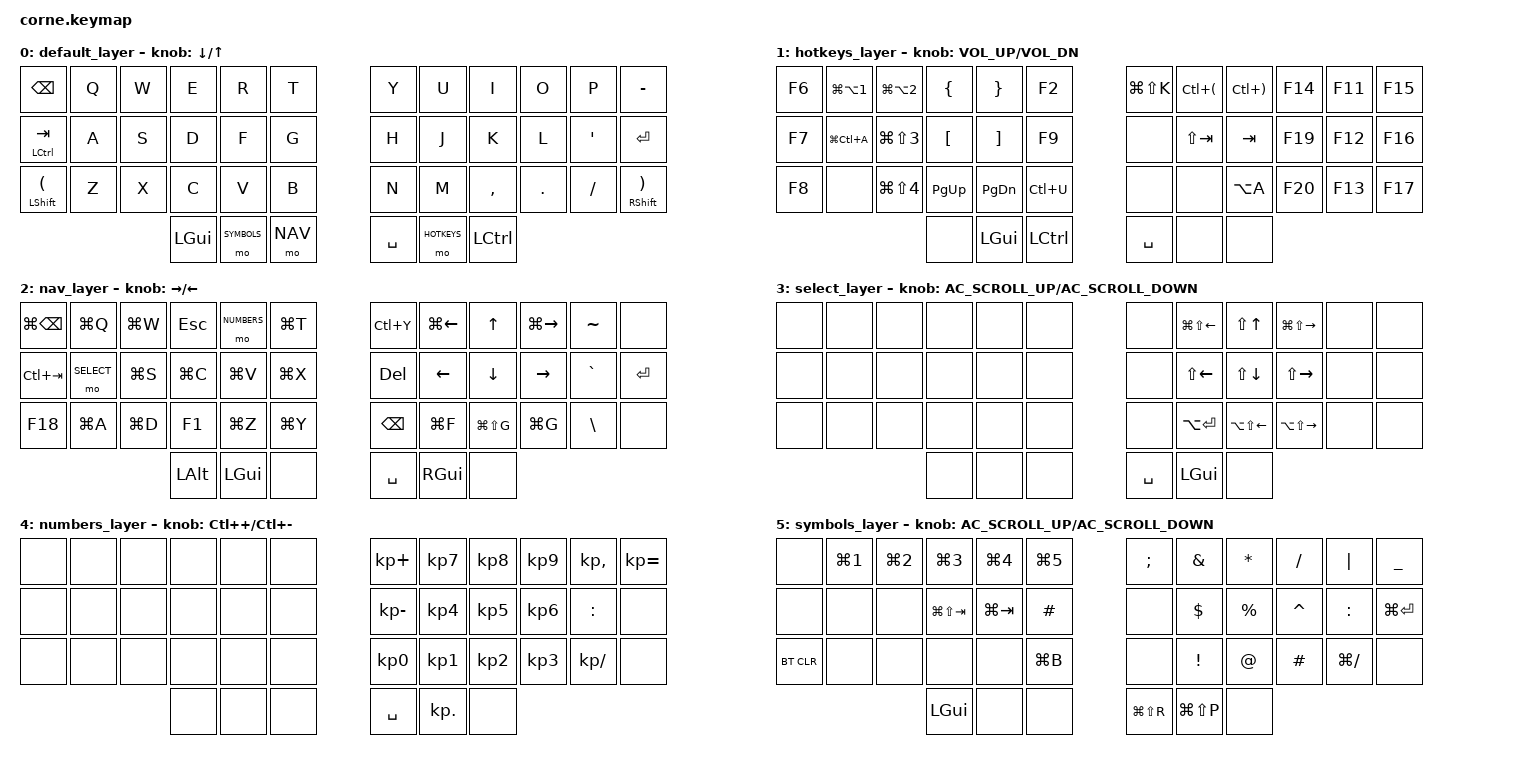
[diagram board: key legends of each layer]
#include <behaviors.dtsi>
#include <dt-bindings/zmk/keys.h>
#include <dt-bindings/zmk/bt.h>
#include <dt-bindings/zmk/rgb.h>
#include <dt-bindings/zmk/ext_power.h>
#include <dt-bindings/zmk/outputs.h>
#define DEFAULT 0
#define HOTKEYS 1
#define NAV     2
#define SELECT  3
#define NUMBERS 4
#define SYMBOLS 5

/ {
        keymap {
                compatible = "zmk,keymap";

                default_layer {
// -----------------------------------------------------------------------------------------
// | BSPC   |  Q  |  W  |  E  |  R  |  T  |   |  Y  |  U   |  I  |  O  |  P  | MINUS  |
// | TAB    |  A  |  S  |  D  |  F  |  G  |   |  H  |  J   |  K  |  L  |  '  | RET    |
// | SHFT ( |  Z  |  X  |  C  |  V  |  B  |   |  N  |  M   |  ,  |  .  |  /  | SHFT ) |
//                 | GUI |  SYMBOLS | NAV |   | SPACE | HOTKEYS | CTRL |
                        bindings = <
   &kp BSPC       &kp Q &kp W &kp E &kp R &kp T   &kp Y &kp U &kp I     &kp O   &kp P    &kp MINUS
   &mt LCTRL TAB  &kp A &kp S &kp D &kp F &kp G   &kp H &kp J &kp K     &kp L   &kp APOS &kp RET
   &mt LSHFT LPAR &kp Z &kp X &kp C &kp V &kp B   &kp N &kp M &kp COMMA &kp DOT &kp FSLH &mt RSHFT RPAR
                   &kp LGUI &mo SYMBOLS &mo NAV   &kp SPACE &mo HOTKEYS &kp LCTRL
                        >;
                        sensor-bindings = <&inc_dec_cp DOWN_ARROW UP_ARROW>;
                };
                hotkeys_layer {
// -----------------------------------------------------------------------------------------
// | F6 | GALT 1 | GALT 2 |  {    |  }    | F2    |   | GSFT K | CTL ( | CTL ) | F14 | F11 | F15 |
// | F7 | GCTL A | GSFT 3 |  [    |  ]    | F9    |   |        | STAB  | TAB   | F19 | F12 | F16 |
// | F8 |        | GSFT 4 | PG_UP | PG_DN | CTL U |   |        |       | ALT A | F20 | F13 | F17 |
//                        |  --   | LGUI  | LCTRL |   | SPACE  |  --   |  --   |
                        bindings = <
   &kp F6 &kp LG(LA(N1)) &kp LG(LA(N2)) &kp LBRC  &kp RBRC  &kp F2     &kp LG(LS(K)) &kp LC(LPAR) &kp LC(RPAR) &kp F14 &kp F11 &kp F15
   &kp F7 &kp LG(LC(A))  &kp LG(LS(N3)) &kp LBKT  &kp RBKT  &kp F9     &none         &kp LS(TAB)  &kp TAB      &kp F19 &kp F12 &kp F16
   &kp F8 &none          &kp LG(LS(N4)) &kp PG_UP &kp PG_DN &kp LC(U)  &none         &none        &kp LA(A)    &kp F20 &kp F13 &kp F17
                                        &none     &kp LGUI  &kp LCTRL  &kp SPACE     &none        &none
                        >;
                        sensor-bindings = <&inc_dec_cp C_VOL_UP C_VOL_DN>;
                };
                nav_layer {
// -----------------------------------------------------------------------------------------
// | G BSPC | LG(Q)  | LG(W) | ESC   | NUMBERS | LG(T) |   | LC(Y) | LG(LEFT) | UP        | LG(RIGHT) | ~ | --  |
// | LC TAB | SELECT | LG(S) | LG(C) | LG(V)   | LG(X) |   | DEL   | LEFT     | DOWN      | RIGHT     | ` | RET |
// | F18    | LG(A)  | LG(D) | F1    | LG(Z)   | LG(Y) |   | BSPC  | LG(F)    | LG(LS(G)) | LG(G)     | \ | --  |
//                           | LALT  | LGUI    |  --   |   | SPACE | RGUI     |    --     |
                        bindings = <
   &kp LG(BSPC) &kp LG(Q)  &kp LG(W) &kp ESC   &mo NUMBERS &kp LG(T)   &kp LC(Y) &kp LG(LEFT) &kp UP        &kp LG(RIGHT) &kp TILDE &none
   &kp LC(TAB)  &mo SELECT &kp LG(S) &kp LG(C) &kp LG(V)   &kp LG(X)   &kp DEL   &kp LEFT     &kp DOWN      &kp RIGHT     &kp GRAVE &kp RET
   &kp F18      &kp LG(A)  &kp LG(D) &kp F1    &kp LG(Z)   &kp LG(Y)   &kp BSPC  &kp LG(F)    &kp LG(LS(G)) &kp LG(G)     &kp BSLH  &none
                                     &kp LALT  &kp LGUI    &none       &kp SPACE &kp RGUI     &none
                        >;
                        sensor-bindings = <&inc_dec_cp RIGHT LEFT>;
                };
                select_layer {
// -----------------------------------------------------------------------------------------
// | -- | -- | -- | -- | -- | -- |   | --    | LG(LS(LEFT)) | LS(UP)       | LG(LS(RIGHT)) | -- | -- |
// | -- | -- | -- | -- | -- | -- |   | --    | LS(LEFT)     | LS(DOWN)     | LS(RIGHT)     | -- | -- |
// | -- | -- | -- | -- | -- | -- |   | --    | LA(RET)      | LA(LS(LEFT)) | LA(LS(RIGHT)) | -- | -- |
//                | -- | -- | -- |   | SPACE | LGUI         | -- |
                        bindings = <
   &none &none &none &none &none &none    &none     &kp LG(LS(LEFT)) &kp LS(UP)       &kp LG(LS(RIGHT)) &none &none
   &none &none &none &none &none &none    &none     &kp LS(LEFT)     &kp LS(DOWN)     &kp LS(RIGHT)     &none &none
   &none &none &none &none &none &none    &none     &kp LA(RET)      &kp LA(LS(LEFT)) &kp LA(LS(RIGHT)) &none &none
                     &none &none &none    &kp SPACE &kp LGUI         &none
                        >;
                        sensor-bindings = <&inc_dec_cp C_AC_SCROLL_UP C_AC_SCROLL_DOWN>;
                };
                numbers_layer {
// -----------------------------------------------------------------------------------------
// | -- | -- | -- | -- | -- | -- |   | + | 7 | 8 | 9 | , | = |
// | -- | -- | -- | -- | -- | -- |   | - | 4 | 5 | 6 | : |  |
// | -- | -- | -- | -- | -- | -- |   | 0 | 1 | 2 | 3 | / | -- |
//                | -- | -- | -- |   | SPACE | KP_DOT | -- |
                        bindings = <
   &none &none &none &none &none &none   &kp KP_PLUS  &kp KP_N7  &kp KP_N8 &kp KP_N9 &kp KP_COMMA  &kp KP_EQUAL
   &none &none &none &none &none &none   &kp KP_MINUS &kp KP_N4  &kp KP_N5 &kp KP_N6 &kp COLON     &none
   &none &none &none &none &none &none   &kp KP_N0    &kp KP_N1  &kp KP_N2 &kp KP_N3 &kp KP_DIVIDE &none
                     &none &none &none   &kp SPACE    &kp KP_DOT &none
                        >;
                        sensor-bindings = <&inc_dec_cp LC(PLUS) LC(MINUS)>;
                };
                symbols_layer {
// -----------------------------------------------------------------------------------------
// | --     | LG(1) | LG(2) | LG(3)       | LG(4)   | LG(5) |   | ;  | & | * | / | PIPE  |   _     |
// | --     |  --   |  --   | LG(LS(TAB)) | LG(TAB) | #     |   | -- | $ | % | ^ |  :    | LG(RET) |
// | BT_CLR |  --   |  --   |     --      |   --    | LG(B) |   | -- | ! | @ | # | LG(/) |   --    |
//                                        | LGUI  | -- | -- |   | LG(LS(R)) | LG(LS(P))  | -- |
                        bindings = <
   &none      &kp LG(N1) &kp LG(N2) &kp LG(N3)       &kp LG(N4)   &kp LG(N5)   &kp SEMI &kp AMPS   &kp ASTRK   &kp FSLH  &kp PIPE     &kp UNDER
   &none      &none      &none      &kp LG(LS(TAB))  &kp LG(TAB)  &kp HASH     &none    &kp DOLLAR &kp PERCENT &kp CARET &kp COLON    &kp LG(RET)
   &bt BT_CLR &none      &none      &none            &none        &kp LG(B)    &none    &kp EXCL   &kp AT_SIGN &kp HASH  &kp LG(FSLH) &none
                                                       &kp LGUI &none &none    &kp LG(LS(R)) &kp LG(LS(P)) &none
                        >;
                        sensor-bindings = <&inc_dec_cp C_AC_SCROLL_UP C_AC_SCROLL_DOWN>;
                };
        };
};



